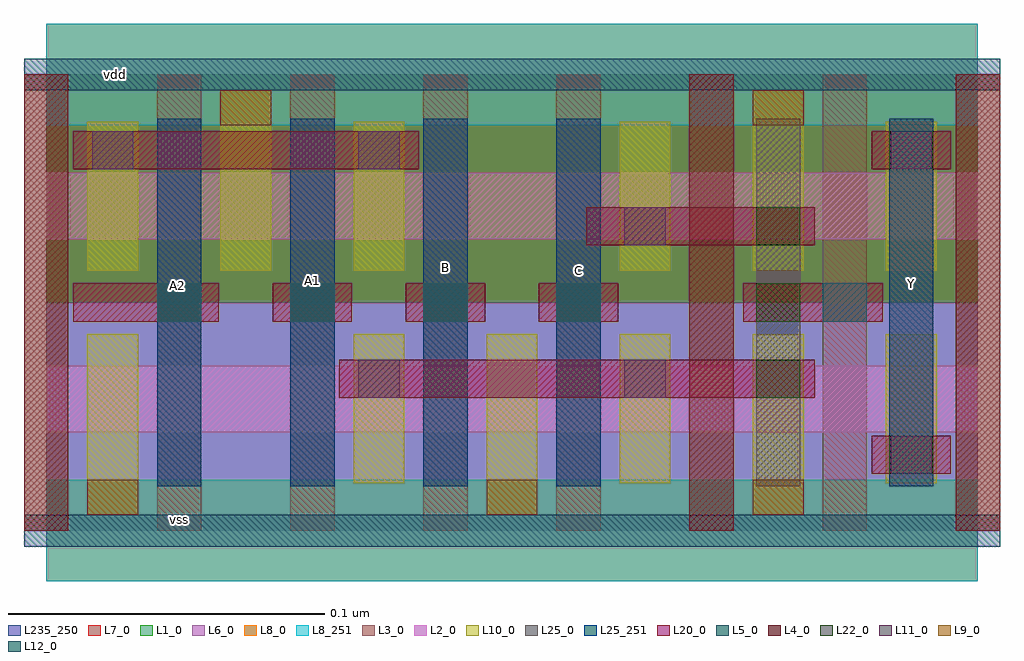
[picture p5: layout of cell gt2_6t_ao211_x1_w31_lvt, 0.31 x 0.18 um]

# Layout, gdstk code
import gdstk
lib = gdstk.Library(unit=1e-6, precision=5e-10)
def R(c, l, rs):  # rectangles x0, y0, x1, y1
    for r in rs: c.add(gdstk.rectangle(r[:2], r[2:], *l))
def A(c, l, x, y, w, h, nx, ny, dx, dy):  # array of equal rectangles
    R(c, l, [(x+i*dx, y+j*dy, x+i*dx+w, y+j*dy+h) for i in range(nx) for j in range(ny)])
L1_0 = (1, 0)
L2_0 = (2, 0)
L3_0 = (3, 0)
L4_0 = (4, 0)
L5_0 = (5, 0)
L6_0 = (6, 0)
L7_0 = (7, 0)
L8_0 = (8, 0)
L8_251 = (8, 251)
L9_0 = (9, 0)
L10_0 = (10, 0)
L11_0 = (11, 0)
L12_0 = (12, 0)
L20_0 = (20, 0)
L22_0 = (22, 0)
L25_0 = (25, 0)
L25_251 = (25, 251)
L235_250 = (235, 250)

gt2_6t_ao211_x1_w31_lvt = lib.new_cell('gt2_6t_ao211_x1_w31_lvt')
R(gt2_6t_ao211_x1_w31_lvt, L1_0, [(0,0.072,0.294,0.144)])
R(gt2_6t_ao211_x1_w31_lvt, L2_0, [(0,0.031,0.294,0.052), (0,0.092,0.294,0.113)])
A(gt2_6t_ao211_x1_w31_lvt, L3_0, -0.007, 0, 0.014, 0.144, 8, 1, 0.042, 0)
R(gt2_6t_ao211_x1_w31_lvt, L4_0, [(-0.007,0,0.007,0.144), (0.203,0,0.217,0.144), (0.287,0,0.301,0.144)])
R(gt2_6t_ao211_x1_w31_lvt, L5_0, [(-0.007,-0.005,0.301,0.005), (-0.007,0.139,0.301,0.149)])
R(gt2_6t_ao211_x1_w31_lvt, L6_0, [(0,0,0.294,0.072)])
R(gt2_6t_ao211_x1_w31_lvt, L7_0, [(0,0.072,0.294,0.144)])
R(gt2_6t_ao211_x1_w31_lvt, L8_0, [(0,-0.016,0.294,0.016), (0,0.128,0.294,0.16)])
R(gt2_6t_ao211_x1_w31_lvt, L8_251, [(0,-0.016,0.294,0.016), (0,0.128,0.294,0.16)])
R(gt2_6t_ao211_x1_w31_lvt, L9_0, [(0.013,0.005,0.029,0.016), (0.139,0.005,0.155,0.016), (0.223,0.005,0.239,0.016), (0.055,0.128,0.071,0.139), (0.223,0.128,0.239,0.139)])
A(gt2_6t_ao211_x1_w31_lvt, L10_0, 0.097, 0.015, 0.016, 0.047, 3, 1, 0.084, 0)
A(gt2_6t_ao211_x1_w31_lvt, L10_0, 0.013, 0.082, 0.016, 0.047, 4, 1, 0.084, 0)
R(gt2_6t_ao211_x1_w31_lvt, L10_0, [(0.013,0.005,0.029,0.062), (0.139,0.005,0.155,0.062), (0.223,0.005,0.239,0.062), (0.055,0.082,0.071,0.139), (0.223,0.082,0.239,0.139)])
R(gt2_6t_ao211_x1_w31_lvt, L11_0, [(0.2665,0.018,0.2795,0.03), (0.0985,0.042,0.1115,0.054), (0.1825,0.042,0.1955,0.054), (0.1825,0.09,0.1955,0.102), (0.0145,0.114,0.0275,0.126), (0.0985,0.114,0.1115,0.126), (0.2665,0.114,0.2795,0.126)])
A(gt2_6t_ao211_x1_w31_lvt, L12_0, 0.035, 0.066, 0.014, 0.012, 4, 1, 0.042, 0)
R(gt2_6t_ao211_x1_w31_lvt, L12_0, [(0.245,0.066,0.259,0.078)])
A(gt2_6t_ao211_x1_w31_lvt, L20_0, 0.0715, 0.066, 0.025, 0.012, 3, 1, 0.042, 0)
R(gt2_6t_ao211_x1_w31_lvt, L20_0, [(0.2605,0.018,0.2855,0.03), (0.0925,0.042,0.2425,0.054), (0.0085,0.066,0.0545,0.078), (0.22,0.066,0.264,0.078), (0.1705,0.09,0.2425,0.102), (0.0085,0.114,0.1175,0.126), (0.2605,0.114,0.2855,0.126)])
A(gt2_6t_ao211_x1_w31_lvt, L22_0, 0.224, 0.042, 0.014, 0.012, 1, 3, 0, 0.024)
A(gt2_6t_ao211_x1_w31_lvt, L22_0, 0.035, 0.066, 0.014, 0.012, 4, 1, 0.042, 0)
R(gt2_6t_ao211_x1_w31_lvt, L22_0, [(0.266,0.018,0.28,0.03), (0.266,0.114,0.28,0.126)])
A(gt2_6t_ao211_x1_w31_lvt, L25_0, 0.035, 0.014, 0.014, 0.116, 4, 1, 0.042, 0)
R(gt2_6t_ao211_x1_w31_lvt, L25_0, [(0.224,0.014,0.238,0.13), (0.266,0.014,0.28,0.13)])
A(gt2_6t_ao211_x1_w31_lvt, L25_251, 0.035, 0.014, 0.014, 0.116, 4, 1, 0.042, 0)
R(gt2_6t_ao211_x1_w31_lvt, L25_251, [(0.266,0.014,0.28,0.13)])
R(gt2_6t_ao211_x1_w31_lvt, L235_250, [(0,0,0.294,0.144)])
gt2_6t_ao211_x1_w31_lvt.add(gdstk.Label('vss', (0.042,0.0035), layer=8, texttype=251))
gt2_6t_ao211_x1_w31_lvt.add(gdstk.Label('vdd', (0.022,0.144), layer=8, texttype=251))
gt2_6t_ao211_x1_w31_lvt.add(gdstk.Label('C', (0.168,0.082), layer=25, texttype=251))
gt2_6t_ao211_x1_w31_lvt.add(gdstk.Label('A1', (0.084,0.079), layer=25, texttype=251))
gt2_6t_ao211_x1_w31_lvt.add(gdstk.Label('A2', (0.0415,0.0775), layer=25, texttype=251))
gt2_6t_ao211_x1_w31_lvt.add(gdstk.Label('B', (0.126,0.083), layer=25, texttype=251))
gt2_6t_ao211_x1_w31_lvt.add(gdstk.Label('Y', (0.273,0.078), layer=25, texttype=251))

lib.write_gds('gt2_6t_ao211_x1_w31_lvt.gds')
